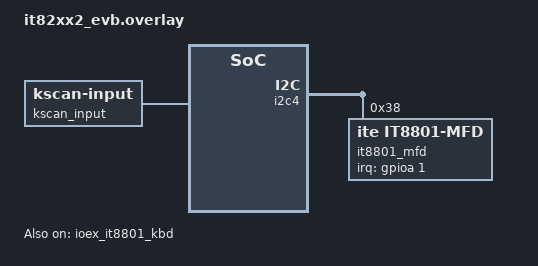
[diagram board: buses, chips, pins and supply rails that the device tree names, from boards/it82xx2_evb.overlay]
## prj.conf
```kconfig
# SPDX-License-Identifier: Apache-2.0

CONFIG_ZTEST=y
CONFIG_KSCAN=y
CONFIG_INPUT=y
CONFIG_INPUT_MODE_SYNCHRONOUS=y

CONFIG_PM_DEVICE_RUNTIME=y
CONFIG_PM_DEVICE_SYSTEM_MANAGED=y
CONFIG_SHELL=y
```

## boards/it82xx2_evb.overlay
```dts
/*
 * Copyright (c) 2024 ITE Corporation. All Rights Reserved.
 *
 * SPDX-License-Identifier: Apache-2.0
 */

/delete-node/ &kbd;

&i2c4 {
	status = "okay";

	it8801_mfd: it8801@38 {
		compatible = "ite,it8801-mfd";
		reg = <0x38>;
		irq-gpios = <&gpioa 1 0>;
	};
};

#include <ite/it8801-common-cfg.dtsi>

&ioex_it8801_kbd {
	status = "okay";
	mfdctrl = <&kso18_gp01_default &kso20_gp23_default>;
	kso-mapping = <0 1 20 3 4 5 6 17 18 16 15 11 12>;
	row-size = <8>;
	col-size = <13>;

	kscan_input: kscan-input {
		compatible = "zephyr,kscan-input";
	};
};
```

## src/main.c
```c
/*
 * Copyright 2023 Google LLC
 *
 * SPDX-License-Identifier: Apache-2.0
 */

#include <zephyr/device.h>
#include <zephyr/drivers/kscan.h>
#include <zephyr/input/input.h>
#include <zephyr/kernel.h>
#include <zephyr/ztest.h>

static const struct device *kscan_dev = DEVICE_DT_GET(
		DT_NODELABEL(kscan_input));
static const struct device *input_dev = DEVICE_DT_GET(
		DT_NODELABEL(ioex_it8801_kbd));

//DEVICE_DT_DEFINE(DT_INST(0, vnd_input_device), NULL, NULL, NULL, NULL,
//		 PRE_KERNEL_1, CONFIG_KERNEL_INIT_PRIORITY_DEVICE, NULL);

static struct {
	uint32_t row;
	uint32_t col;
	bool pressed;
} last_cb_val;
static int callback_calls_count;

static void kscan_callback(const struct device *dev, uint32_t row, uint32_t col,
			   bool pressed)
{
	TC_PRINT("row = %u col = %u %d\n", row, col, pressed);

	callback_calls_count++;
	last_cb_val.row = row;
	last_cb_val.col = col;
	last_cb_val.pressed = pressed;
}

#include <zephyr/pm/device.h>
#include <zephyr/pm/device_runtime.h>

ZTEST(kscan_input, test_kscan_input)
{
	int ret;

	ret = pm_device_runtime_get(input_dev);
	if (ret < 0) {
		printk("runtime get fail\n");
		//return ret;
	}

	kscan_config(kscan_dev, kscan_callback);
	kscan_enable_callback(kscan_dev);

	input_report_abs(input_dev, INPUT_ABS_X, 101, false, K_FOREVER);
	zassert_equal(callback_calls_count, 0);

	input_report_abs(input_dev, INPUT_ABS_Y, 102, false, K_FOREVER);
	zassert_equal(callback_calls_count, 0);

	input_report_key(input_dev, INPUT_BTN_TOUCH, 1, true, K_FOREVER);
	zassert_equal(callback_calls_count, 1);
	zassert_equal(last_cb_val.col, 101);
	zassert_equal(last_cb_val.row, 102);
	zassert_equal(last_cb_val.pressed, true);

	input_report_abs(input_dev, INPUT_ABS_X, 103, true, K_FOREVER);
	zassert_equal(callback_calls_count, 2);
	zassert_equal(last_cb_val.col, 103);
	zassert_equal(last_cb_val.row, 102);
	zassert_equal(last_cb_val.pressed, true);

	input_report_key(input_dev, INPUT_BTN_TOUCH, 0, true, K_FOREVER);
	zassert_equal(callback_calls_count, 3);
	zassert_equal(last_cb_val.col, 103);
	zassert_equal(last_cb_val.row, 102);
	zassert_equal(last_cb_val.pressed, false);
}

ZTEST_SUITE(kscan_input, NULL, NULL, NULL, NULL, NULL);
```
